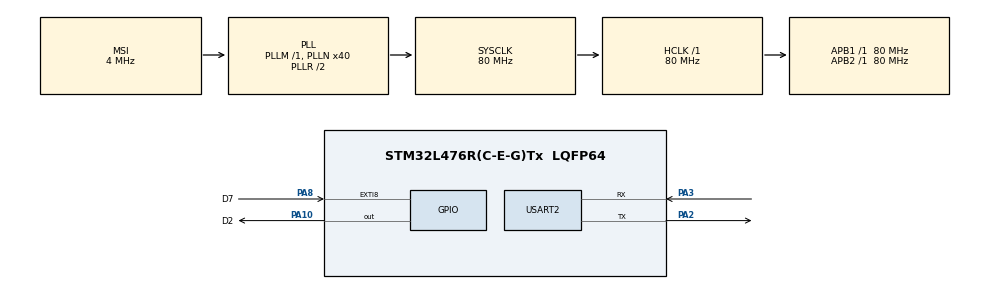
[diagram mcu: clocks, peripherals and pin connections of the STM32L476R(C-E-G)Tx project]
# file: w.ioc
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Mcu.Family=STM32L4
Mcu.Name=STM32L476R(C-E-G)Tx
Mcu.Package=LQFP64
NVIC.EXTI9_5_IRQn=true\:0\:0\:false\:false\:true\:true\:true\:true
NVIC.PriorityGroup=NVIC_PRIORITYGROUP_4
PA10.GPIO_Label=D2
PA10.GPIO_PuPd=GPIO_NOPULL
PA10.Signal=GPIO_Output
PA2.Mode=Asynchronous
PA2.Signal=USART2_TX
PA3.Mode=Asynchronous
PA3.Signal=USART2_RX
PA8.GPIO_Label=D7
PA8.GPIO_ModeDefaultEXTI=GPIO_MODE_IT_RISING_FALLING
PA8.GPIO_PuPd=GPIO_PULLDOWN
PA8.Signal=GPXTI8
ProjectManager.HeapSize=0x200
ProjectManager.StackSize=0x400
ProjectManager.TargetToolchain=STM32CubeIDE
RCC.AHBFreq_Value=80000000
RCC.APB1Freq_Value=80000000
RCC.APB1TimFreq_Value=80000000
RCC.APB2Freq_Value=80000000
RCC.APB2TimFreq_Value=80000000
RCC.CortexFreq_Value=80000000
RCC.HCLKFreq_Value=80000000
RCC.HSE_VALUE=8000000
RCC.HSI_VALUE=16000000
RCC.LSE_VALUE=32768
RCC.MSI_VALUE=4000000
RCC.PLLN=40
RCC.SYSCLKFreq_VALUE=80000000
RCC.SYSCLKSource=RCC_SYSCLKSOURCE_PLLCLK
RCC.VCOOutputFreq_Value=160000000
TIM16.Channel=TIM_CHANNEL_1
TIM16.Prescaler=79
TIM7.Prescaler=79
USART2.VirtualMode-Asynchronous=VM_ASYNC
VP_TIM16_VS_ClockSourceINT.Mode=Enable_Timer
VP_TIM16_VS_no_output1.Mode=Output Compare1 No Output
VP_TIM7_VS_ClockSourceINT.Mode=Enable_Timer
board=custom

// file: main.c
/* USER CODE BEGIN Header */
/**
  ******************************************************************************
  * @file           : main.c
  * @brief          : Main program body
  ******************************************************************************
  * @attention
  *
  * Copyright (c) 2025 STMicroelectronics.
  * All rights reserved.
  *
  * This software is licensed under terms that can be found in the LICENSE file
  * in the root directory of this software component.
  * If no LICENSE file comes with this software, it is provided AS-IS.
  *
  ******************************************************************************
  */
/* USER CODE END Header */
#include "main.h"

/* USER CODE BEGIN PD */
#define  Trig_Port D2_GPIO_Port
#define Trig_Pin D2_Pin
#define  Echo_Port D7_GPIO_Port
#define  Echo_Pin D7_Pin

/* USER CODE END PD */

TIM_HandleTypeDef htim7;
TIM_HandleTypeDef htim16;

UART_HandleTypeDef huart2;

/* USER CODE BEGIN PV */
volatile uint32_t rise_time = 0;
	volatile uint32_t pulse_width_us = 0;
	volatile uint8_t measurement_done = 0;
/* USER CODE END PV */

void SystemClock_Config(void);
static void MX_GPIO_Init(void);
static void MX_TIM16_Init(void);
static void MX_USART2_UART_Init(void);
static void MX_TIM7_Init(void);
/* USER CODE BEGIN PFP */

void send_measurement(uint32_t time_us, float distance_cm) {
    char buffer[100];
    int len = snprintf(buffer, sizeof(buffer), "Czas: %lu us | Odleglosc: %.2f cm\r\n", time_us, distance_cm);
    HAL_UART_Transmit(&huart2, (uint8_t*)buffer, len, 100);
}

void HAL_GPIO_EXTI_Callback(uint16_t GPIO_Pin) {
    if (GPIO_Pin == D7_Pin) {
        if (HAL_GPIO_ReadPin(D7_GPIO_Port, D7_Pin) == GPIO_PIN_SET) {
            __HAL_TIM_SET_COUNTER(&htim16, 0); // Start pomiaru
        } else {
            uint32_t fall_time = __HAL_TIM_GET_COUNTER(&htim16);
            float distance_cm = (fall_time * 0.0343f) / 2.0f;
            send_measurement(fall_time, distance_cm);
        }
    }
}

void HCSR04_Trigger(void) {
    HAL_GPIO_WritePin(D2_GPIO_Port, D2_Pin, GPIO_PIN_SET);
    __HAL_TIM_SET_COUNTER(&htim7, 0);
    while (__HAL_TIM_GET_COUNTER(&htim7) < 12); // około 10 µs
    HAL_GPIO_WritePin(D2_GPIO_Port, D2_Pin, GPIO_PIN_RESET);
}
/* USER CODE END PFP */

int main(void)
{

  /* MCU Configuration--------------------------------------------------------*/

  /* Reset of all peripherals, Initializes the Flash interface and the Systick. */
  HAL_Init();

  /* Configure the system clock */
  SystemClock_Config();

  /* Initialize all configured peripherals */
  MX_GPIO_Init();
  MX_TIM16_Init();
  MX_USART2_UART_Init();
  MX_TIM7_Init();
  /* USER CODE BEGIN 2 */

  HAL_TIM_Base_Start(&htim7);
  HAL_TIM_Base_Start(&htim16);  // Uruchom timer do pomiaru długości impulsu

  /* USER CODE END 2 */

  /* Infinite loop */
  /* USER CODE BEGIN WHILE */
  while (1)
  {

  HCSR04_Trigger();

    /* USER CODE END WHILE */

  }
}

void SystemClock_Config(void)
{
  RCC_OscInitTypeDef RCC_OscInitStruct = {0};
  RCC_ClkInitTypeDef RCC_ClkInitStruct = {0};

  /** Configure the main internal regulator output voltage
  */
  if (HAL_PWREx_ControlVoltageScaling(PWR_REGULATOR_VOLTAGE_SCALE1) != HAL_OK)
  {
    Error_Handler();
  }

  /** Initializes the RCC Oscillators according to the specified parameters
  * in the RCC_OscInitTypeDef structure.
  */
  RCC_OscInitStruct.OscillatorType = RCC_OSCILLATORTYPE_MSI;
  RCC_OscInitStruct.MSIState = RCC_MSI_ON;
  RCC_OscInitStruct.MSICalibrationValue = 0;
  RCC_OscInitStruct.MSIClockRange = RCC_MSIRANGE_6;
  RCC_OscInitStruct.PLL.PLLState = RCC_PLL_ON;
  RCC_OscInitStruct.PLL.PLLSource = RCC_PLLSOURCE_MSI;
  RCC_OscInitStruct.PLL.PLLM = 1;
  RCC_OscInitStruct.PLL.PLLN = 40;
  RCC_OscInitStruct.PLL.PLLP = RCC_PLLP_DIV7;
  RCC_OscInitStruct.PLL.PLLQ = RCC_PLLQ_DIV2;
  RCC_OscInitStruct.PLL.PLLR = RCC_PLLR_DIV2;
  if (HAL_RCC_OscConfig(&RCC_OscInitStruct) != HAL_OK)
  {
    Error_Handler();
  }

  /** Initializes the CPU, AHB and APB buses clocks
  */
  RCC_ClkInitStruct.ClockType = RCC_CLOCKTYPE_HCLK|RCC_CLOCKTYPE_SYSCLK
                              |RCC_CLOCKTYPE_PCLK1|RCC_CLOCKTYPE_PCLK2;
  RCC_ClkInitStruct.SYSCLKSource = RCC_SYSCLKSOURCE_PLLCLK;
  RCC_ClkInitStruct.AHBCLKDivider = RCC_SYSCLK_DIV1;
  RCC_ClkInitStruct.APB1CLKDivider = RCC_HCLK_DIV1;
  RCC_ClkInitStruct.APB2CLKDivider = RCC_HCLK_DIV1;

  if (HAL_RCC_ClockConfig(&RCC_ClkInitStruct, FLASH_LATENCY_4) != HAL_OK)
  {
    Error_Handler();
  }
}

static void MX_TIM7_Init(void)
{

  TIM_MasterConfigTypeDef sMasterConfig = {0};

  htim7.Instance = TIM7;
  htim7.Init.Prescaler = 79;
  htim7.Init.CounterMode = TIM_COUNTERMODE_UP;
  htim7.Init.Period = 65535;
  htim7.Init.AutoReloadPreload = TIM_AUTORELOAD_PRELOAD_DISABLE;
  if (HAL_TIM_Base_Init(&htim7) != HAL_OK)
  {
    Error_Handler();
  }
  sMasterConfig.MasterOutputTrigger = TIM_TRGO_RESET;
  sMasterConfig.MasterSlaveMode = TIM_MASTERSLAVEMODE_DISABLE;
  if (HAL_TIMEx_MasterConfigSynchronization(&htim7, &sMasterConfig) != HAL_OK)
  {
    Error_Handler();
  }

}

static void MX_TIM16_Init(void)
{

  TIM_OC_InitTypeDef sConfigOC = {0};
  TIM_BreakDeadTimeConfigTypeDef sBreakDeadTimeConfig = {0};

  htim16.Instance = TIM16;
  htim16.Init.Prescaler = 79;
  htim16.Init.CounterMode = TIM_COUNTERMODE_UP;
  htim16.Init.Period = 65535;
  htim16.Init.ClockDivision = TIM_CLOCKDIVISION_DIV1;
  htim16.Init.RepetitionCounter = 0;
  htim16.Init.AutoReloadPreload = TIM_AUTORELOAD_PRELOAD_DISABLE;
  if (HAL_TIM_Base_Init(&htim16) != HAL_OK)
  {
    Error_Handler();
  }
  if (HAL_TIM_OC_Init(&htim16) != HAL_OK)
  {
    Error_Handler();
  }
  sConfigOC.OCMode = TIM_OCMODE_TIMING;
  sConfigOC.Pulse = 0;
  sConfigOC.OCPolarity = TIM_OCPOLARITY_HIGH;
  sConfigOC.OCNPolarity = TIM_OCNPOLARITY_HIGH;
  sConfigOC.OCFastMode = TIM_OCFAST_DISABLE;
  sConfigOC.OCIdleState = TIM_OCIDLESTATE_RESET;
  sConfigOC.OCNIdleState = TIM_OCNIDLESTATE_RESET;
  if (HAL_TIM_OC_ConfigChannel(&htim16, &sConfigOC, TIM_CHANNEL_1) != HAL_OK)
  {
    Error_Handler();
  }
  sBreakDeadTimeConfig.OffStateRunMode = TIM_OSSR_DISABLE;
  sBreakDeadTimeConfig.OffStateIDLEMode = TIM_OSSI_DISABLE;
  sBreakDeadTimeConfig.LockLevel = TIM_LOCKLEVEL_OFF;
  sBreakDeadTimeConfig.DeadTime = 0;
  sBreakDeadTimeConfig.BreakState = TIM_BREAK_DISABLE;
  sBreakDeadTimeConfig.BreakPolarity = TIM_BREAKPOLARITY_HIGH;
  sBreakDeadTimeConfig.AutomaticOutput = TIM_AUTOMATICOUTPUT_DISABLE;
  if (HAL_TIMEx_ConfigBreakDeadTime(&htim16, &sBreakDeadTimeConfig) != HAL_OK)
  {
    Error_Handler();
  }

}

static void MX_USART2_UART_Init(void)
{

  huart2.Instance = USART2;
  huart2.Init.BaudRate = 115200;
  huart2.Init.WordLength = UART_WORDLENGTH_8B;
  huart2.Init.StopBits = UART_STOPBITS_1;
  huart2.Init.Parity = UART_PARITY_NONE;
  huart2.Init.Mode = UART_MODE_TX_RX;
  huart2.Init.HwFlowCtl = UART_HWCONTROL_NONE;
  huart2.Init.OverSampling = UART_OVERSAMPLING_16;
  huart2.Init.OneBitSampling = UART_ONE_BIT_SAMPLE_DISABLE;
  huart2.AdvancedInit.AdvFeatureInit = UART_ADVFEATURE_NO_INIT;
  if (HAL_UART_Init(&huart2) != HAL_OK)
  {
    Error_Handler();
  }

}

static void MX_GPIO_Init(void)
{
  GPIO_InitTypeDef GPIO_InitStruct = {0};

  /* GPIO Ports Clock Enable */
  __HAL_RCC_GPIOA_CLK_ENABLE();

  /*Configure GPIO pin Output Level */
  HAL_GPIO_WritePin(D2_GPIO_Port, D2_Pin, GPIO_PIN_RESET);

  /*Configure GPIO pin : D7_Pin */
  GPIO_InitStruct.Pin = D7_Pin;
  GPIO_InitStruct.Mode = GPIO_MODE_IT_RISING_FALLING;
  GPIO_InitStruct.Pull = GPIO_PULLDOWN;
  HAL_GPIO_Init(D7_GPIO_Port, &GPIO_InitStruct);

  /*Configure GPIO pin : D2_Pin */
  GPIO_InitStruct.Pin = D2_Pin;
  GPIO_InitStruct.Mode = GPIO_MODE_OUTPUT_PP;
  GPIO_InitStruct.Pull = GPIO_NOPULL;
  GPIO_InitStruct.Speed = GPIO_SPEED_FREQ_LOW;
  HAL_GPIO_Init(D2_GPIO_Port, &GPIO_InitStruct);

  /* EXTI interrupt init*/
  HAL_NVIC_SetPriority(EXTI9_5_IRQn, 0, 0);
  HAL_NVIC_EnableIRQ(EXTI9_5_IRQn);

}

void Error_Handler(void)
{
  __disable_irq();
  while (1)
  {
  }
}
